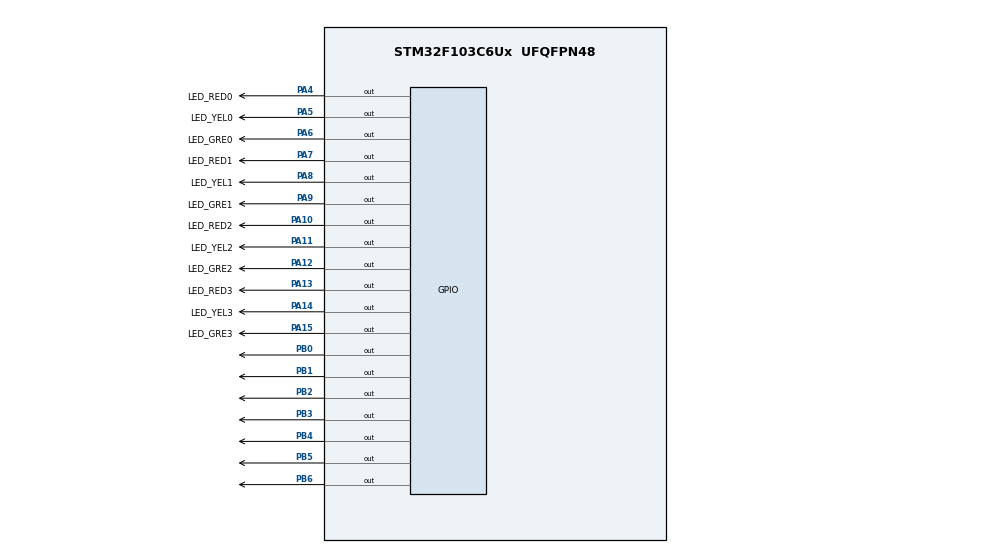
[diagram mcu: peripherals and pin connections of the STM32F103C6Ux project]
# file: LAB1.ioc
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Mcu.Family=STM32F1
Mcu.Name=STM32F103C6Ux
Mcu.Package=UFQFPN48
NVIC.PriorityGroup=NVIC_PRIORITYGROUP_4
PA10.GPIO_Label=LED_RED2
PA10.Signal=GPIO_Output
PA11.GPIO_Label=LED_YEL2
PA11.Signal=GPIO_Output
PA12.GPIO_Label=LED_GRE2
PA12.Signal=GPIO_Output
PA13.GPIO_Label=LED_RED3
PA13.Signal=GPIO_Output
PA14.GPIO_Label=LED_YEL3
PA14.Signal=GPIO_Output
PA15.GPIO_Label=LED_GRE3
PA15.Signal=GPIO_Output
PA4.GPIO_Label=LED_RED0
PA4.Signal=GPIO_Output
PA5.GPIO_Label=LED_YEL0
PA5.Signal=GPIO_Output
PA6.GPIO_Label=LED_GRE0
PA6.Signal=GPIO_Output
PA7.GPIO_Label=LED_RED1
PA7.Signal=GPIO_Output
PA8.GPIO_Label=LED_YEL1
PA8.Signal=GPIO_Output
PA9.GPIO_Label=LED_GRE1
PA9.Signal=GPIO_Output
PB0.Signal=GPIO_Output
PB1.Signal=GPIO_Output
PB2.Signal=GPIO_Output
PB3.Signal=GPIO_Output
PB4.Signal=GPIO_Output
PB5.Signal=GPIO_Output
PB6.Signal=GPIO_Output
ProjectManager.HeapSize=0x200
ProjectManager.StackSize=0x400
ProjectManager.TargetToolchain=STM32CubeIDE
RCC.APB1Freq_Value=8000000
RCC.APB2Freq_Value=8000000
VP_SYS_VS_ND.Mode=No_Debug
board=custom

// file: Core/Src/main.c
/* USER CODE BEGIN Header */
/**
  ******************************************************************************
  * @file           : main.c
  * @brief          : Main program body
  ******************************************************************************
  * @attention
  *
  * <h2><center>&copy; Copyright (c) 2024 STMicroelectronics.
  * All rights reserved.</center></h2>
  *
  * This software component is licensed by ST under BSD 3-Clause license,
  * the "License"; You may not use this file except in compliance with the
  * License. You may obtain a copy of the License at:
  *                        opensource.org/licenses/BSD-3-Clause
  *
  ******************************************************************************
  */
/* USER CODE END Header */
#include "main.h"

int counter  = 0;
int sec = 60, min =3600, hour =43200;

void SystemClock_Config(void);
static void MX_GPIO_Init(void);

/* USER CODE BEGIN 0 */

//Segment numbers stored in array.
//Each element represents for a displayed number (range from 0 - 9). Decoder for Common Anode.
uint8_t segmentNumber[10] = {0xc0,0xf9,0xa4,0xb0,0x99,0x92,0x82,0xf8,0x80,0x90};
void display7SEG(int num){
    uint8_t number = segmentNumber[num];
	//Check a nth bit by shifting n times to the right, then bitwise AND it:
	HAL_GPIO_WritePin(GPIOB, GPIO_PIN_0, ((number>>0)&0x01));
	HAL_GPIO_WritePin(GPIOB, GPIO_PIN_1, ((number>>1)&0x01));
	HAL_GPIO_WritePin(GPIOB, GPIO_PIN_2, ((number>>2)&0x01));
	HAL_GPIO_WritePin(GPIOB, GPIO_PIN_3, ((number>>3)&0x01));
	HAL_GPIO_WritePin(GPIOB, GPIO_PIN_4, ((number>>4)&0x01));
	HAL_GPIO_WritePin(GPIOB, GPIO_PIN_5, ((number>>5)&0x01));
	HAL_GPIO_WritePin(GPIOB, GPIO_PIN_6, ((number>>6)&0x01));
}

void ex1()
{
	  switch(counter){
	  case 0:
	    HAL_GPIO_WritePin(LED_RED0_GPIO_Port, LED_RED0_Pin, SET);
	    HAL_GPIO_WritePin(LED_YEL0_GPIO_Port, LED_YEL0_Pin, RESET);
	    counter ++;
	    break;
	  case 2:
	    HAL_GPIO_WritePin(LED_RED0_GPIO_Port, LED_RED0_Pin, RESET);
	    HAL_GPIO_WritePin(LED_YEL0_GPIO_Port, LED_YEL0_Pin, SET);
	    counter++;
	    break;
	  case 3:
	    counter = 0;
	    break;
	  default:
	    counter++;
	    break;
	    }
}

void ex2()
{
	  switch (counter) {
	  case 0:
	    HAL_GPIO_WritePin(LED_RED0_GPIO_Port, LED_RED0_Pin, GPIO_PIN_SET);
	    HAL_GPIO_WritePin(LED_YEL0_GPIO_Port, LED_YEL0_Pin, GPIO_PIN_RESET);
	    HAL_GPIO_WritePin(LED_GRE0_GPIO_Port, LED_GRE0_Pin, GPIO_PIN_RESET);
	    counter++;
	    break;
	  case 5:
	    HAL_GPIO_TogglePin(LED_RED0_GPIO_Port, LED_RED0_Pin);
	    HAL_GPIO_TogglePin(LED_GRE0_GPIO_Port, LED_GRE0_Pin);
	    counter++;
	    break;
	  case 8:
	    HAL_GPIO_TogglePin(LED_GRE0_GPIO_Port, LED_GRE0_Pin);
	    HAL_GPIO_TogglePin(LED_YEL0_GPIO_Port, LED_YEL0_Pin);
	    counter++;
	    break;
	  case 9:
	    counter = 0;
	    break;
	  default:
	    counter++;
	    break;
		}
}

void ex4()
{
    if(counter >= 10) counter = 0;
    display7SEG(counter++);
}

void setLedRed(int a)
{
    HAL_GPIO_WritePin(LED_RED0_GPIO_Port, LED_RED0_Pin, a);
    HAL_GPIO_WritePin(LED_RED1_GPIO_Port, LED_RED1_Pin, a);
    HAL_GPIO_WritePin(LED_RED2_GPIO_Port, LED_RED2_Pin, a);
    HAL_GPIO_WritePin(LED_RED3_GPIO_Port, LED_RED3_Pin, a);
}

void setLedYellow(int a)
{
    HAL_GPIO_WritePin(LED_YEL0_GPIO_Port, LED_YEL0_Pin, a);
    HAL_GPIO_WritePin(LED_YEL1_GPIO_Port, LED_YEL1_Pin, a);
    HAL_GPIO_WritePin(LED_YEL2_GPIO_Port, LED_YEL2_Pin, a);
    HAL_GPIO_WritePin(LED_YEL3_GPIO_Port, LED_YEL3_Pin, a);
}

void setLedGreen(int a)
{
    HAL_GPIO_WritePin(LED_GRE0_GPIO_Port, LED_GRE0_Pin, a);
    HAL_GPIO_WritePin(LED_GRE1_GPIO_Port, LED_GRE1_Pin, a);
    HAL_GPIO_WritePin(LED_GRE2_GPIO_Port, LED_GRE2_Pin, a);
    HAL_GPIO_WritePin(LED_GRE3_GPIO_Port, LED_GRE3_Pin, a);
}

void ex5()
{
	  switch (counter) {
	  case 9:
		 setLedRed(1);
		 setLedYellow(0);
		 setLedGreen(0);
		 counter--;
		 break;
	  case 4:
		 setLedRed(0);
		 setLedYellow(0);
		 setLedGreen(1);
		 counter--;
		 break;
	  case 1:
		 setLedRed(0);
		 setLedYellow(1);
		 setLedGreen(0);
		 counter--;
		 break;
	  case 0:
	    counter = 9;
	    break;
	  default:
	    counter--;
	    break;
		}
}

void ex6()
{
	// ODR: Output Data Register. It means that we operate on registers. The code is : GPIOA->ODR =  0x0008 (0b0000000000001000).
	// We want to set pin A3 and reset the other pins in the 16 pin bus.
	// Aim: Check connection between pins by blinking 12 LEDs in sequence. Then repeat a loop.
	//We configure pins from A4 through A15, so as to see A4 to be displayed we set A3 in default.
	  if(counter >=0 && counter <= 11)
	    GPIOA->ODR = GPIOA->ODR << 1; // Shift the register to the left 1 bit
	  if(counter >= 12){   // After a loop, set up again.
	    GPIOA->ODR = 0x0010;//0b0000000000010000;
	    counter  = 0;
		  }
	  counter++;
}

void clearAllClock(){
    GPIOA -> ODR = 0x0000;
}

void setNumberOnClock(int num){
  if(num >= 0 && num <=11){
    GPIOA->ODR |= 1 << (num + 4); // Because pin A_4 has value 0.
  }
}

void clearNumberOnClock(int num){
	if(num >= 0 && num <=11){
	 // To clear a bit, we must invert the bit string with bitwise NOT operator(~), then AND it.
	  GPIOA->ODR &= ~(1 << (num + 4));
	}
}

void ex10()
{
    sec --;
    min --;
    hour --;
    clearAllClock();

    //display sec, min, hour every 5s,300s, and 3600s respectively.
    setNumberOnClock(11 - sec/5);
    setNumberOnClock(11 - min/300);
    setNumberOnClock(11 - hour/3600);

    //Return after every cycle
    if (sec == 0)
        sec = 60;
    if (min == 0)
        min = 3600;
    if (hour == 0)
        hour = 43200;
}

/* USER CODE END 0 */

int main(void)
{

  /* MCU Configuration--------------------------------------------------------*/

  /* Reset of all peripherals, Initializes the Flash interface and the Systick. */
  HAL_Init();

  /* Configure the system clock */
  SystemClock_Config();

  /* Initialize all configured peripherals */
  MX_GPIO_Init();

  /* Infinite loop */
  /* USER CODE BEGIN WHILE */
  //counter = 0;
  GPIOA->ODR = 0x0008;
  //clearAllClock();
  //sec = 60, min =3600, hour =43200;
  while (1)
  {
    /* USER CODE END WHILE */
	//display7SEG(8);
//	setNumberOnClock(8);
//	HAL_Delay(1000);
//	clearNumberOnClock(8);
//	HAL_Delay(1000);
//	setNumberOnClock(7);
//	HAL_Delay(1000);
//	clearAllClock();
	 ex10();;
	 HAL_Delay(200);
  }
}

void SystemClock_Config(void)
{
  RCC_OscInitTypeDef RCC_OscInitStruct = {0};
  RCC_ClkInitTypeDef RCC_ClkInitStruct = {0};

  /** Initializes the RCC Oscillators according to the specified parameters
  * in the RCC_OscInitTypeDef structure.
  */
  RCC_OscInitStruct.OscillatorType = RCC_OSCILLATORTYPE_HSI;
  RCC_OscInitStruct.HSIState = RCC_HSI_ON;
  RCC_OscInitStruct.HSICalibrationValue = RCC_HSICALIBRATION_DEFAULT;
  RCC_OscInitStruct.PLL.PLLState = RCC_PLL_NONE;
  if (HAL_RCC_OscConfig(&RCC_OscInitStruct) != HAL_OK)
  {
    Error_Handler();
  }
  /** Initializes the CPU, AHB and APB buses clocks
  */
  RCC_ClkInitStruct.ClockType = RCC_CLOCKTYPE_HCLK|RCC_CLOCKTYPE_SYSCLK
                              |RCC_CLOCKTYPE_PCLK1|RCC_CLOCKTYPE_PCLK2;
  RCC_ClkInitStruct.SYSCLKSource = RCC_SYSCLKSOURCE_HSI;
  RCC_ClkInitStruct.AHBCLKDivider = RCC_SYSCLK_DIV1;
  RCC_ClkInitStruct.APB1CLKDivider = RCC_HCLK_DIV1;
  RCC_ClkInitStruct.APB2CLKDivider = RCC_HCLK_DIV1;

  if (HAL_RCC_ClockConfig(&RCC_ClkInitStruct, FLASH_LATENCY_0) != HAL_OK)
  {
    Error_Handler();
  }
}

static void MX_GPIO_Init(void)
{
  GPIO_InitTypeDef GPIO_InitStruct = {0};

  /* GPIO Ports Clock Enable */
  __HAL_RCC_GPIOA_CLK_ENABLE();
  __HAL_RCC_GPIOB_CLK_ENABLE();

  /*Configure GPIO pin Output Level */
  HAL_GPIO_WritePin(GPIOA, LED_RED0_Pin|LED_YEL0_Pin|LED_GRE0_Pin|LED_RED1_Pin
                          |LED_YEL1_Pin|LED_GRE1_Pin|LED_RED2_Pin|LED_YEL2_Pin
                          |LED_GRE2_Pin|LED_RED3_Pin|LED_YEL3_Pin|LED_GRE3_Pin, GPIO_PIN_RESET);

  /*Configure GPIO pin Output Level */
  HAL_GPIO_WritePin(GPIOB, GPIO_PIN_0|GPIO_PIN_1|GPIO_PIN_2|GPIO_PIN_3
                          |GPIO_PIN_4|GPIO_PIN_5|GPIO_PIN_6, GPIO_PIN_RESET);

  /*Configure GPIO pins : LED_RED0_Pin LED_YEL0_Pin LED_GRE0_Pin LED_RED1_Pin
                           LED_YEL1_Pin LED_GRE1_Pin LED_RED2_Pin LED_YEL2_Pin
                           LED_GRE2_Pin LED_RED3_Pin LED_YEL3_Pin LED_GRE3_Pin */
  GPIO_InitStruct.Pin = LED_RED0_Pin|LED_YEL0_Pin|LED_GRE0_Pin|LED_RED1_Pin
                          |LED_YEL1_Pin|LED_GRE1_Pin|LED_RED2_Pin|LED_YEL2_Pin
                          |LED_GRE2_Pin|LED_RED3_Pin|LED_YEL3_Pin|LED_GRE3_Pin;
  GPIO_InitStruct.Mode = GPIO_MODE_OUTPUT_PP;
  GPIO_InitStruct.Pull = GPIO_NOPULL;
  GPIO_InitStruct.Speed = GPIO_SPEED_FREQ_LOW;
  HAL_GPIO_Init(GPIOA, &GPIO_InitStruct);

  /*Configure GPIO pins : PB0 PB1 PB2 PB3
                           PB4 PB5 PB6 */
  GPIO_InitStruct.Pin = GPIO_PIN_0|GPIO_PIN_1|GPIO_PIN_2|GPIO_PIN_3
                          |GPIO_PIN_4|GPIO_PIN_5|GPIO_PIN_6;
  GPIO_InitStruct.Mode = GPIO_MODE_OUTPUT_PP;
  GPIO_InitStruct.Pull = GPIO_NOPULL;
  GPIO_InitStruct.Speed = GPIO_SPEED_FREQ_LOW;
  HAL_GPIO_Init(GPIOB, &GPIO_InitStruct);

}

void Error_Handler(void)
{
  __disable_irq();
  while (1)
  {
  }
}

/************************ (C) COPYRIGHT STMicroelectronics *****END OF FILE****/
